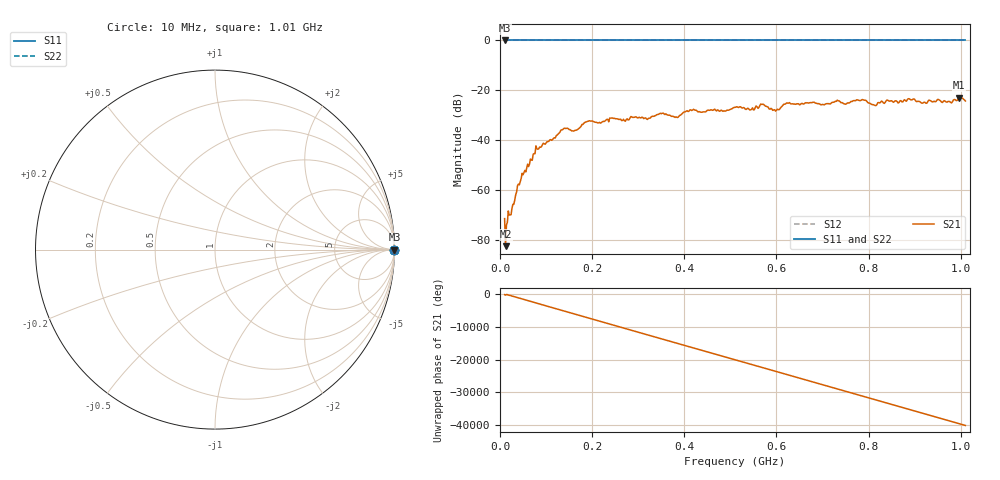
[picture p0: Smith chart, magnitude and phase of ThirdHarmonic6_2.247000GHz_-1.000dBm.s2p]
! 8/17/2025 2:40:34 AM
! C:\ANRITSUVNA\TEMP\TEMP.S2P
! CHANNEL.1
! TR.MEASUREMENT
! RAW.DATA
! RF.CORRECTION.OFF
! AVERAGING.OFF
! IF.BANDWIDTH: 5KHZ
! SWEEPTYPE:  FREQ.SWEEP(Linear)
! Reference Plane Port Info
! PORT:  PORT1  PORT2
! DISTANCE:  0  m  0  m
! TIME:  0  s  0  s
! PHASE.OFFSET:  0  deg.  0  deg.
! LOSS:  0  dB  0  dB
! REF.LOSS:  0  dB  0  dB
! REF.FREQ:  0  Hz  0  Hz
! Power Info
! POWER:  -20  dBm  -20  dBm
! EFF.POWER:  -20  dBm  -20  dBm
! SOURCE.ATTEN:  0  dB  0  dB
! TEST.ATTEN:  0  dB  0  dB
# GHZ S RI R 50.0
! FREQ.GHZ  S11RE  S11IM  S21RE  S21IM  S12RE  S12IM  S22RE  S22IM
!; PortSelection: Port_12
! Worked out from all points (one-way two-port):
!   501 points, 10 MHz to 1.01 GHz, reference 50 ohm
!   highest |S21| = -22.95 dB at 996 MHz (marker M1); lowest = -82.3 dB at 12 MHz (marker M2)
!   lowest |S11| = 0.0 dB at 10 MHz (marker M3)
!   |S11| at or under -10 dB: nowhere
!   |S22| runs from 0.0 to 0.0 dB; largest |S21 - S12| = 1.1
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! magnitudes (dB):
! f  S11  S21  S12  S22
! 10 MHz  0.0  -71.3  0.0  0.0
! 12 MHz  0.0  -82.3  0.0  0.0
! 26 MHz  0.0  -67.1  0.0  0.0
! 44 MHz  0.0  -56.4  0.0  0.0
! 76 MHz  0.0  -45.3  0.0  0.0
! 136 MHz  0.0  -35.7  0.0  0.0
! 162 MHz  0.0  -36.0  0.0  0.0
! 178 MHz  0.0  -33.6  0.0  0.0
! 344 MHz  0.0  -29.5  0.0  0.0
! 382 MHz  0.0  -30.6  0.0  0.0
! 416 MHz  0.0  -28.0  0.0  0.0
! 510 MHz  0.0  -26.8  0.0  0.0
! 548 MHz  0.0  -27.0  0.0  0.0
! 570 MHz  0.0  -25.5  0.0  0.0
! 596 MHz  0.0  -27.7  0.0  0.0
! 624 MHz  0.0  -25.1  0.0  0.0
! 678 MHz  0.0  -24.8  0.0  0.0
! 790 MHz  0.0  -23.9  0.0  0.0
! 814 MHz  0.0  -26.0  0.0  0.0
! 844 MHz  0.0  -24.2  0.0  0.0
! 996 MHz  0.0  -22.9  0.0  0.0
! 1.01 GHz  0.0  -24.2  0.0  0.0
